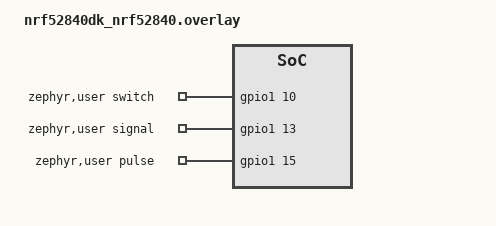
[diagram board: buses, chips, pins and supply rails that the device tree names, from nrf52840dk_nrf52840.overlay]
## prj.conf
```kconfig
#Memory
CONFIG_MAIN_STACK_SIZE=4096

# General configuration
CONFIG_MAIN_STACK_SIZE=4096
CONFIG_SYSTEM_WORKQUEUE_STACK_SIZE=4096
CONFIG_FLASH=y
CONFIG_FLASH_MAP=y
CONFIG_NVS=y
CONFIG_SETTINGS=y
CONFIG_HWINFO=y

# Bluetooth configuration
CONFIG_BT=y
CONFIG_BT_COMPANY_ID=0x0059
CONFIG_BT_DEVICE_NAME="Light Bett"
CONFIG_BT_L2CAP_TX_BUF_COUNT=32
CONFIG_BT_OBSERVER=y
CONFIG_BT_PERIPHERAL=y
CONFIG_BT_SETTINGS=y

# Disable unused Bluetooth features
CONFIG_BT_CTLR_DUP_FILTER_LEN=0
CONFIG_BT_CTLR_LE_ENC=n
CONFIG_BT_DATA_LEN_UPDATE=n
CONFIG_BT_PHY_UPDATE=n
CONFIG_BT_CTLR_CHAN_SEL_2=n
CONFIG_BT_CTLR_MIN_USED_CHAN=n
CONFIG_BT_CTLR_PRIVACY=n

# Bluetooth mesh configuration
CONFIG_BT_MESH=y
CONFIG_BT_MESH_RELAY=y
CONFIG_BT_MESH_FRIEND=y
CONFIG_BT_MESH_FRIEND_LPN_COUNT=10
CONFIG_BT_MESH_LOW_POWER=n
CONFIG_BT_MESH_BEACON_ENABLED=y
#CONFIG_BT_DEBUG_LOG=y
#CONFIG_BT_MESH_DEBUG=y
#CONFIG_BT_MESH_DEBUG_LOW_POWER=y
#CONFIG_BT_MESH_DEBUG_FRIEND=y
CONFIG_BT_MESH_LPN_AUTO=n
CONFIG_BT_MESH_LPN_AUTO_TIMEOUT=5
#600 = 60s
CONFIG_BT_MESH_LPN_POLL_TIMEOUT=65000
#2 Days
CONFIG_BT_MESH_GATT_PROXY=y
CONFIG_BT_MESH_ADV_BUF_COUNT=64
CONFIG_BT_MESH_TX_SEG_MAX=32
CONFIG_BT_MESH_PB_GATT=y
# More Proxy Clients
CONFIG_BT_MAX_CONN=3

# Logging
CONFIG_LOG=y
CONFIG_LOG_MODE_IMMEDIATE=y
CONFIG_SERIAL=y

# Bluetooth mesh models
CONFIG_BT_MESH_ONOFF_SRV=y

#Board
#CONFIG_BOARD_HAS_NRF5_BOOTLOADER=n

#For Reset
CONFIG_REBOOT=y
```

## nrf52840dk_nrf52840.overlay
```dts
#include <dt-bindings/gpio/gpio.h>

/ {
	zephyr,user {
		handle = <&gpio0>;
		handles = <&gpio0>, <&gpio1>;
		switch-gpios = <&gpio1 10 GPIO_ACTIVE_HIGH>;
		signal-gpios = <&gpio1 13 GPIO_ACTIVE_HIGH>;
		pulse-gpios = <&gpio1 15 GPIO_ACTIVE_HIGH>;
	};
};

&spi1 {
	status = "disabled";
};
```

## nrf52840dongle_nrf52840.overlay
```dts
#include <dt-bindings/gpio/gpio.h>

&i2c0 {
	status = "disabled";
};

&i2c1 {
	status = "disabled";
};

&spi0 {
	status = "disabled";
};

&spi1 {
	status = "disabled";
};

&uart0 {
	status = "okay";
};

/ {
	leds {
		compatible = "gpio-leds";
		lightctrl: lightctrl_0 {
			gpios = <&gpio0 31 GPIO_ACTIVE_LOW>;
			label = "Light CTRL 0";
		};
	};
   aliases {
	lightctrl = &lightctrl;
	};
};
```

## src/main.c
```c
#include <zephyr.h>
#include <sys/reboot.h>
#include <sys/util.h>
#include <device.h>
#include <drivers/gpio.h>
#include <drivers/pwm.h>
#include <drivers/hwinfo.h>

#include <bluetooth/bluetooth.h>
#include <bluetooth/mesh.h>
#include <bluetooth/mesh/models.h>
#include <bluetooth/mesh/model_types.h>

/* ---------- Led ------------------- */
static struct gpio_dt_spec led = GPIO_DT_SPEC_GET_OR(DT_ALIAS(led0), gpios,{0});

static void leds_init()
{
    gpio_pin_configure_dt(&led, GPIO_OUTPUT_INACTIVE);
}

/* ---------- Reset Button ------------------- */
static const struct gpio_dt_spec button = GPIO_DT_SPEC_GET_OR(DT_ALIAS(sw0), gpios, {0});
static struct gpio_callback button_cb_data;
static struct k_work_delayable buttons_debounce;

static void reset()
{
  printk("Reboot now!\n");
  sys_reboot(SYS_REBOOT_COLD);
}

static void buttons_debounce_fn(struct k_work *work)
{
  if (gpio_pin_get_dt(&button) == true)
  {
    reset();
  }
}

void button_pressed(const struct device *dev, struct gpio_callback *cb,
                    uint32_t pins)
{
  printk("Button pressed at %" PRIu32 "\n", k_cycle_get_32());
  k_work_reschedule(&buttons_debounce, K_MSEC(5 * 1000)); // Debounce the Button
}

//Init Reset Button
static void buttons_init()
{
    //Init Reset Button
  gpio_pin_configure_dt(&button, GPIO_INPUT);
  gpio_pin_interrupt_configure_dt(&button, GPIO_INT_EDGE_TO_ACTIVE);
  gpio_init_callback(&button_cb_data, button_pressed, BIT(button.pin));
  gpio_add_callback(button.port, &button_cb_data);
  k_work_init_delayable(&buttons_debounce, buttons_debounce_fn);
}


/* ---------------------------- Bluetooth Mesh ------------------------------- */

#include <drivers/hwinfo.h>

#include <bluetooth/bluetooth.h>
#include <bluetooth/mesh.h>
#include <bluetooth/mesh/models.h>
#include <bluetooth/mesh/model_types.h>


/* Provisioning */
static int output_number(bt_mesh_output_action_t action, uint32_t number)
{
  printk("OOB Number: %u\n", number);
  return 0;
}

static void prov_complete(uint16_t net_idx, uint16_t addr)
{
  printk("Prov complete! Addr: 0x%04x\n", addr);
}

static void prov_reset(void)
{
  printk("Prov reset!\n");
  bt_mesh_prov_enable(BT_MESH_PROV_ADV | BT_MESH_PROV_GATT);
}

static uint8_t dev_uuid[16];

static const struct bt_mesh_prov prov = {
    .uuid = dev_uuid,
    .output_size = 4,
    .output_actions = BT_MESH_DISPLAY_NUMBER,
    .output_number = output_number,
    .complete = prov_complete,
    .reset = prov_reset,
};

/* ON/OFF Server definition */
static struct gpio_dt_spec lightctrl = GPIO_DT_SPEC_GET_OR(DT_ALIAS(lightctrl), gpios,{0});

static void on_off_server_init()
{
  gpio_pin_configure_dt(&lightctrl, GPIO_OUTPUT_ACTIVE);
}

static void switch_set(struct bt_mesh_onoff_srv *srv, struct bt_mesh_msg_ctx *ctx, const struct bt_mesh_onoff_set *set, struct bt_mesh_onoff_status *rsp)
{
  gpio_pin_set_dt(&lightctrl, !set->on_off);
  gpio_pin_set_dt(&led, set->on_off);
}
static void switch_get(struct bt_mesh_onoff_srv *srv, struct bt_mesh_msg_ctx *ctx, struct bt_mesh_onoff_status *rsp){
  rsp->present_on_off = gpio_pin_get_dt(&lightctrl);
}

static const struct bt_mesh_onoff_srv_handlers onoff_handlers = {
    .set = switch_set,
    .get = switch_get,
};

static struct bt_mesh_onoff_srv on_off_srv = BT_MESH_ONOFF_SRV_INIT(&onoff_handlers);



/* Health Server definition */
static void attention_on(struct bt_mesh_model *model)
{
  printk("attention_on!\n");
}
static void attention_off(struct bt_mesh_model *model)
{
  printk("attention_off!\n");
}
static const struct bt_mesh_health_srv_cb health_srv_cb = {
    .attn_on = attention_on,
    .attn_off = attention_off,
};
static struct bt_mesh_health_srv health_srv = {
    .cb = &health_srv_cb,
};
BT_MESH_HEALTH_PUB_DEFINE(health_pub, 0);

/* Define all Elements */
static struct bt_mesh_elem elements[] = {
    BT_MESH_ELEM(
        1, BT_MESH_MODEL_LIST(BT_MESH_MODEL_CFG_SRV, BT_MESH_MODEL_HEALTH_SRV(&health_srv, &health_pub),  BT_MESH_MODEL_ONOFF_SRV(&on_off_srv)),BT_MESH_MODEL_NONE)
    };

/* Create Composition */
static const struct bt_mesh_comp comp = {
    .cid = CONFIG_BT_COMPANY_ID,
    .elem = elements,
    .elem_count = ARRAY_SIZE(elements),
};

/* Bluetooth */
static void bt_ready(int err)
{
  if (err)
  {
    printk("Bluetooth init failed (err %d)\n", err);
    return;
  }

  printk("Bluetooth initialized\n");

  err = bt_mesh_init(&prov, &comp);
  if (err)
  {
    printk("Initializing mesh failed (err %d)\n", err);
    return;
  }

  if (IS_ENABLED(CONFIG_SETTINGS))
  {
    settings_load();
  }

  //Check Reboot Condition
  /* --------------- Reset Mesh ------------*/
	if(gpio_pin_get_dt(&button)){
		printk("Reset Mesh!\n");
		bt_mesh_reset();
	}


  /* This will be a no-op if settings_load() loaded provisioning info */
  bt_mesh_prov_enable(BT_MESH_PROV_ADV | BT_MESH_PROV_GATT);

  /* Check for Friendship */

  printk("Mesh initialized\n");
}


//Init Bluetooth Mesh
static void bluetooth_mesh_init()
{
  static int err;
  if (IS_ENABLED(CONFIG_HWINFO)) {
		err = hwinfo_get_device_id(dev_uuid, sizeof(dev_uuid));
	}
	if (err < 0) {
		dev_uuid[0] = 0xdd;
		dev_uuid[1] = 0xdd;
	}
  //Init Bluetooth
	bt_enable(bt_ready);
}


/**@brief Function for application main entry.
 */
void main(void)
{
  //Init
  printk("Init...\n");
  //Init LED
  leds_init();
  //Init Reset Button
  buttons_init();
  // Init ON OFF Server
  on_off_server_init();
  //Init Bluetooth Mesh
  bluetooth_mesh_init();
  // Start Application
  printk("Starting Application...\n");
}
```
